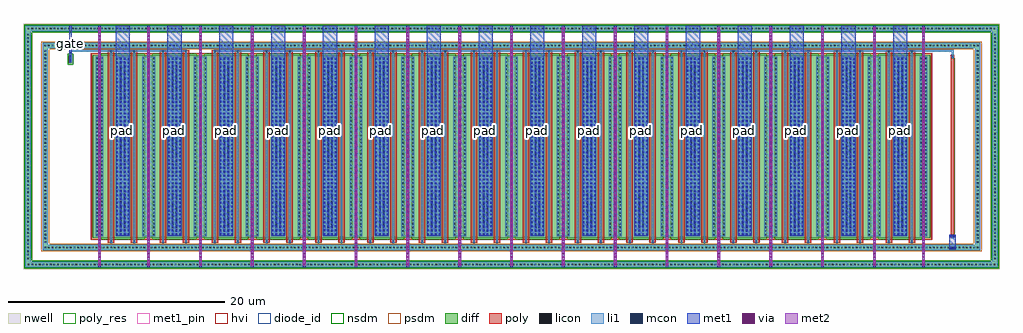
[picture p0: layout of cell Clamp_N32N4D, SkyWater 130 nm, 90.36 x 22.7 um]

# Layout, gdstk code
import gdstk
lib = gdstk.Library(unit=1e-6, precision=1e-09)
def R(c, l, rs):  # rectangles x0, y0, x1, y1
    for r in rs: c.add(gdstk.rectangle(r[:2], r[2:], *l))
def A(c, l, x, y, w, h, nx, ny, dx, dy):  # array of equal rectangles
    R(c, l, [(x+i*dx, y+j*dy, x+i*dx+w, y+j*dy+h) for i in range(nx) for j in range(ny)])
def P(c, l, *ps):  # polygons
    for p in ps: c.add(gdstk.Polygon(p, *l))
nwell = (64, 20)
diff = (65, 20)
poly_res = (66, 13)
poly = (66, 20)
licon = (66, 44)
li1 = (67, 20)
mcon = (67, 44)
met1_pin = (68, 16)
met1 = (68, 20)
via = (68, 44)
met2 = (69, 20)
hvi = (75, 20)
diode_id = (81, 23)
nsdm = (93, 44)
psdm = (94, 20)

guardring_n18000w4468hff = lib.new_cell('GuardRing_N18000W4468HFF')
P(guardring_n18000w4468hff, nwell, [(-45.18,-11.35),(-45.18,10.51),(-44.34,10.51),(-44.34,-10.51),(44.34,-10.51),(44.34,10.51),(-45.18,10.51),(-45.18,11.35),(45.18,11.35),(45.18,-11.35)])
P(guardring_n18000w4468hff, diff, [(-45,-11.17),(-45,10.69),(-44.52,10.69),(-44.52,-10.69),(44.52,-10.69),(44.52,10.69),(-45,10.69),(-45,11.17),(45,11.17),(45,-11.17)])
A(guardring_n18000w4468hff, licon, -44.795, -11.015, 0.17, 0.17, 264, 2, 0.34, 21.86)
A(guardring_n18000w4468hff, licon, -44.845, -10.455, 0.17, 0.17, 1, 62, 0, 0.34)
A(guardring_n18000w4468hff, licon, 44.675, -10.455, 0.17, 0.17, 1, 62, 0, 0.34)
P(guardring_n18000w4468hff, li1, [(-45,-11.17),(-45,10.69),(-44.52,10.69),(-44.52,-10.69),(44.52,-10.69),(44.52,10.69),(-45,10.69),(-45,11.17),(45,11.17),(45,-11.17)])
P(guardring_n18000w4468hff, nsdm, [(-45.125,-11.295),(-45.125,10.565),(-44.395,10.565),(-44.395,-10.565),(44.395,-10.565),(44.395,10.565),(-45.125,10.565),(-45.125,11.295),(45.125,11.295),(45.125,-11.295)])

guardring_p17368w3836hff = lib.new_cell('GuardRing_P17368W3836HFF')
P(guardring_p17368w3836hff, diff, [(-43.42,-9.59),(-43.42,9.11),(-42.94,9.11),(-42.94,-9.11),(42.94,-9.11),(42.94,9.11),(-43.42,9.11),(-43.42,9.59),(43.42,9.59),(43.42,-9.59)])
A(guardring_p17368w3836hff, licon, -43.265, -9.435, 0.17, 0.17, 255, 2, 0.34, 18.7)
A(guardring_p17368w3836hff, licon, -43.265, -8.925, 0.17, 0.17, 1, 53, 0, 0.34)
A(guardring_p17368w3836hff, licon, 43.095, -8.925, 0.17, 0.17, 1, 53, 0, 0.34)
P(guardring_p17368w3836hff, li1, [(-43.42,-9.59),(-43.42,9.11),(-42.94,9.11),(-42.94,-9.11),(42.94,-9.11),(42.94,9.11),(-43.42,9.11),(-43.42,9.59),(43.42,9.59),(43.42,-9.59)])
P(guardring_p17368w3836hff, psdm, [(-43.545,-9.715),(-43.545,8.985),(-42.815,8.985),(-42.815,-8.985),(42.815,-8.985),(42.815,8.985),(-43.545,8.985),(-43.545,9.715),(43.545,9.715),(43.545,-9.715)])

clamp_n32n4d = lib.new_cell('Clamp_N32N4D')
R(clamp_n32n4d, diff, [(6.25,2.72,83.75,19.62), (4.03,18.87,4.28,19.62)])
R(clamp_n32n4d, poly_res, [(85.675,2.985,86.015,19.355)])
R(clamp_n32n4d, poly, [(7.635,2.26,8.235,20.08), (9.765,2.26,10.365,20.08), (12.435,2.26,13.035,20.08), (14.565,2.26,15.165,20.08), (17.235,2.26,17.835,20.08), (19.365,2.26,19.965,20.08), (22.035,2.26,22.635,20.08), (24.165,2.26,24.765,20.08), (26.835,2.26,27.435,20.08), (28.965,2.26,29.565,20.08), (31.635,2.26,32.235,20.08), (33.765,2.26,34.365,20.08), (36.435,2.26,37.035,20.08), (38.565,2.26,39.165,20.08), (41.235,2.26,41.835,20.08), (43.365,2.26,43.965,20.08), (46.035,2.26,46.635,20.08), (48.165,2.26,48.765,20.08), (50.835,2.26,51.435,20.08), (52.965,2.26,53.565,20.08), (55.635,2.26,56.235,20.08), (57.765,2.26,58.365,20.08), (60.435,2.26,61.035,20.08), (62.565,2.26,63.165,20.08), (65.235,2.26,65.835,20.08), (67.365,2.26,67.965,20.08), (70.035,2.26,70.635,20.08), (72.165,2.26,72.765,20.08), (74.835,2.26,75.435,20.08), (76.965,2.26,77.565,20.08), (79.635,2.26,80.235,20.08), (81.765,2.26,82.365,20.08), (85.68,2.69,86.01,19.65)])
A(clamp_n32n4d, licon, 6.515, 2.925, 0.17, 0.17, 1, 49, 0, 0.34)
A(clamp_n32n4d, licon, 7.025, 2.925, 0.17, 0.17, 1, 49, 0, 0.34)
A(clamp_n32n4d, licon, 8.745, 2.925, 0.17, 0.17, 1, 49, 0, 0.34)
A(clamp_n32n4d, licon, 9.085, 2.925, 0.17, 0.17, 1, 49, 0, 0.34)
A(clamp_n32n4d, licon, 10.805, 2.925, 0.17, 0.17, 3, 49, 0.51, 0.34)
A(clamp_n32n4d, licon, 13.545, 2.925, 0.17, 0.17, 1, 49, 0, 0.34)
A(clamp_n32n4d, licon, 13.885, 2.925, 0.17, 0.17, 1, 49, 0, 0.34)
A(clamp_n32n4d, licon, 15.605, 2.925, 0.17, 0.17, 3, 49, 0.51, 0.34)
A(clamp_n32n4d, licon, 18.345, 2.925, 0.17, 0.17, 1, 49, 0, 0.34)
A(clamp_n32n4d, licon, 18.685, 2.925, 0.17, 0.17, 1, 49, 0, 0.34)
A(clamp_n32n4d, licon, 20.405, 2.925, 0.17, 0.17, 3, 49, 0.51, 0.34)
A(clamp_n32n4d, licon, 23.145, 2.925, 0.17, 0.17, 1, 49, 0, 0.34)
A(clamp_n32n4d, licon, 23.485, 2.925, 0.17, 0.17, 1, 49, 0, 0.34)
A(clamp_n32n4d, licon, 25.205, 2.925, 0.17, 0.17, 3, 49, 0.51, 0.34)
A(clamp_n32n4d, licon, 27.945, 2.925, 0.17, 0.17, 1, 49, 0, 0.34)
A(clamp_n32n4d, licon, 28.285, 2.925, 0.17, 0.17, 1, 49, 0, 0.34)
A(clamp_n32n4d, licon, 30.005, 2.925, 0.17, 0.17, 3, 49, 0.51, 0.34)
A(clamp_n32n4d, licon, 32.745, 2.925, 0.17, 0.17, 1, 49, 0, 0.34)
A(clamp_n32n4d, licon, 33.085, 2.925, 0.17, 0.17, 1, 49, 0, 0.34)
A(clamp_n32n4d, licon, 34.805, 2.925, 0.17, 0.17, 3, 49, 0.51, 0.34)
A(clamp_n32n4d, licon, 37.545, 2.925, 0.17, 0.17, 1, 49, 0, 0.34)
A(clamp_n32n4d, licon, 37.885, 2.925, 0.17, 0.17, 1, 49, 0, 0.34)
A(clamp_n32n4d, licon, 39.605, 2.925, 0.17, 0.17, 3, 49, 0.51, 0.34)
A(clamp_n32n4d, licon, 42.345, 2.925, 0.17, 0.17, 1, 49, 0, 0.34)
A(clamp_n32n4d, licon, 42.685, 2.925, 0.17, 0.17, 1, 49, 0, 0.34)
A(clamp_n32n4d, licon, 44.405, 2.925, 0.17, 0.17, 3, 49, 0.51, 0.34)
A(clamp_n32n4d, licon, 47.145, 2.925, 0.17, 0.17, 1, 49, 0, 0.34)
A(clamp_n32n4d, licon, 47.485, 2.925, 0.17, 0.17, 1, 49, 0, 0.34)
A(clamp_n32n4d, licon, 49.205, 2.925, 0.17, 0.17, 3, 49, 0.51, 0.34)
A(clamp_n32n4d, licon, 51.945, 2.925, 0.17, 0.17, 1, 49, 0, 0.34)
A(clamp_n32n4d, licon, 52.285, 2.925, 0.17, 0.17, 1, 49, 0, 0.34)
A(clamp_n32n4d, licon, 54.005, 2.925, 0.17, 0.17, 3, 49, 0.51, 0.34)
A(clamp_n32n4d, licon, 56.745, 2.925, 0.17, 0.17, 1, 49, 0, 0.34)
A(clamp_n32n4d, licon, 57.085, 2.925, 0.17, 0.17, 1, 49, 0, 0.34)
A(clamp_n32n4d, licon, 58.805, 2.925, 0.17, 0.17, 3, 49, 0.51, 0.34)
A(clamp_n32n4d, licon, 61.545, 2.925, 0.17, 0.17, 1, 49, 0, 0.34)
A(clamp_n32n4d, licon, 61.885, 2.925, 0.17, 0.17, 1, 49, 0, 0.34)
A(clamp_n32n4d, licon, 63.605, 2.925, 0.17, 0.17, 3, 49, 0.51, 0.34)
A(clamp_n32n4d, licon, 66.345, 2.925, 0.17, 0.17, 1, 49, 0, 0.34)
A(clamp_n32n4d, licon, 66.685, 2.925, 0.17, 0.17, 1, 49, 0, 0.34)
A(clamp_n32n4d, licon, 68.405, 2.925, 0.17, 0.17, 3, 49, 0.51, 0.34)
A(clamp_n32n4d, licon, 71.145, 2.925, 0.17, 0.17, 1, 49, 0, 0.34)
A(clamp_n32n4d, licon, 71.485, 2.925, 0.17, 0.17, 1, 49, 0, 0.34)
A(clamp_n32n4d, licon, 73.205, 2.925, 0.17, 0.17, 3, 49, 0.51, 0.34)
A(clamp_n32n4d, licon, 75.945, 2.925, 0.17, 0.17, 1, 49, 0, 0.34)
A(clamp_n32n4d, licon, 76.285, 2.925, 0.17, 0.17, 1, 49, 0, 0.34)
A(clamp_n32n4d, licon, 78.005, 2.925, 0.17, 0.17, 3, 49, 0.51, 0.34)
A(clamp_n32n4d, licon, 80.745, 2.925, 0.17, 0.17, 1, 49, 0, 0.34)
A(clamp_n32n4d, licon, 81.085, 2.925, 0.17, 0.17, 1, 49, 0, 0.34)
A(clamp_n32n4d, licon, 82.805, 2.925, 0.17, 0.17, 1, 49, 0, 0.34)
A(clamp_n32n4d, licon, 83.315, 2.925, 0.17, 0.17, 1, 49, 0, 0.34)
R(clamp_n32n4d, licon, [(7.85,2.31,8.02,2.48), (9.98,2.31,10.15,2.48), (12.65,2.31,12.82,2.48), (14.78,2.31,14.95,2.48), (17.45,2.31,17.62,2.48), (19.58,2.31,19.75,2.48), (22.25,2.31,22.42,2.48), (24.38,2.31,24.55,2.48), (27.05,2.31,27.22,2.48), (29.18,2.31,29.35,2.48), (31.85,2.31,32.02,2.48), (33.98,2.31,34.15,2.48), (36.65,2.31,36.82,2.48), (38.78,2.31,38.95,2.48), (41.45,2.31,41.62,2.48), (43.58,2.31,43.75,2.48), (46.25,2.31,46.42,2.48), (48.38,2.31,48.55,2.48), (51.05,2.31,51.22,2.48), (53.18,2.31,53.35,2.48), (55.85,2.31,56.02,2.48), (57.98,2.31,58.15,2.48), (60.65,2.31,60.82,2.48), (62.78,2.31,62.95,2.48), (65.45,2.31,65.62,2.48), (67.58,2.31,67.75,2.48), (70.25,2.31,70.42,2.48), (72.38,2.31,72.55,2.48), (75.05,2.31,75.22,2.48), (77.18,2.31,77.35,2.48), (79.85,2.31,80.02,2.48), (81.98,2.31,82.15,2.48), (85.76,2.77,85.93,2.94), (4.07,18.99,4.24,19.16), (4.07,19.33,4.24,19.5), (85.76,19.4,85.93,19.57), (7.85,19.86,8.02,20.03), (9.98,19.86,10.15,20.03), (12.65,19.86,12.82,20.03), (14.78,19.86,14.95,20.03), (17.45,19.86,17.62,20.03), (19.58,19.86,19.75,20.03), (22.25,19.86,22.42,20.03), (24.38,19.86,24.55,20.03), (27.05,19.86,27.22,20.03), (29.18,19.86,29.35,20.03), (31.85,19.86,32.02,20.03), (33.98,19.86,34.15,20.03), (36.65,19.86,36.82,20.03), (38.78,19.86,38.95,20.03), (41.45,19.86,41.62,20.03), (43.58,19.86,43.75,20.03), (46.25,19.86,46.42,20.03), (48.38,19.86,48.55,20.03), (51.05,19.86,51.22,20.03), (53.18,19.86,53.35,20.03), (55.85,19.86,56.02,20.03), (57.98,19.86,58.15,20.03), (60.65,19.86,60.82,20.03), (62.78,19.86,62.95,20.03), (65.45,19.86,65.62,20.03), (67.58,19.86,67.75,20.03), (70.25,19.86,70.42,20.03), (72.38,19.86,72.55,20.03), (75.05,19.86,75.22,20.03), (77.18,19.86,77.35,20.03), (79.85,19.86,80.02,20.03), (81.98,19.86,82.15,20.03)])
A(clamp_n32n4d, li1, 11.315, 1.58, 0.17, 0.48, 15, 2, 4.8, 18.7)
A(clamp_n32n4d, li1, 8.375, 2.845, 1.25, 16.65, 16, 1, 4.8, 0)
A(clamp_n32n4d, li1, 10.805, 2.845, 1.19, 16.65, 15, 1, 4.8, 0)
R(clamp_n32n4d, li1, [(6.77,1.58,6.94,2.06), (83.06,1.58,83.23,2.06), (85.58,1.735,86.11,1.905), (6.515,2.845,7.195,19.495), (82.805,2.845,83.485,19.495), (6.77,20.28,6.94,20.76), (83.06,20.28,83.23,20.76)])
P(clamp_n32n4d, li1, [(85.76,2.69),(85.76,2.77),(85.58,2.77),(85.58,2.94),(85.76,2.94),(85.76,3.02),(85.93,3.02),(85.93,2.94),(86.11,2.94),(86.11,2.77),(85.93,2.77),(85.93,2.69)],
  [(7.85,2.23),(7.85,19.94),(4.24,19.94),(4.24,18.91),(4.07,18.91),(4.07,20.11),(14.95,20.11),(14.95,2.23),(14.78,2.23),(14.78,19.94),(12.82,19.94),(12.82,2.23),(12.65,2.23),(12.65,19.94),(10.15,19.94),(10.15,2.23),(9.98,2.23),(9.98,19.94),(8.02,19.94),(8.02,2.23)],
  [(17.45,2.23),(17.45,20.11),(85.93,20.11),(85.93,19.32),(85.76,19.32),(85.76,19.94),(82.15,19.94),(82.15,2.23),(81.98,2.23),(81.98,19.94),(80.02,19.94),(80.02,2.23),(79.85,2.23),(79.85,19.94),(77.35,19.94),(77.35,2.23),(77.18,2.23),(77.18,19.94),(75.22,19.94),(75.22,2.23),(75.05,2.23),(75.05,19.94),(72.55,19.94),(72.55,2.23),(72.38,2.23),(72.38,19.94),(70.42,19.94),(70.42,2.23),(70.25,2.23),(70.25,19.94),(67.75,19.94),(67.75,2.23),(67.58,2.23),(67.58,19.94),(65.62,19.94),(65.62,2.23),(65.45,2.23),(65.45,19.94),(62.95,19.94),(62.95,2.23),(62.78,2.23),(62.78,19.94),(60.82,19.94),(60.82,2.23),(60.65,2.23),(60.65,19.94),(58.15,19.94),(58.15,2.23),(57.98,2.23),(57.98,19.94),(56.02,19.94),(56.02,2.23),(55.85,2.23),(55.85,19.94),(53.35,19.94),(53.35,2.23),(53.18,2.23),(53.18,19.94),(51.22,19.94),(51.22,2.23),(51.05,2.23),(51.05,19.94),(48.55,19.94),(48.55,2.23),(48.38,2.23),(48.38,19.94),(46.42,19.94),(46.42,2.23),(46.25,2.23),(46.25,19.94),(43.75,19.94),(43.75,2.23),(43.58,2.23),(43.58,19.94),(41.62,19.94),(41.62,2.23),(41.45,2.23),(41.45,19.94),(38.95,19.94),(38.95,2.23),(38.78,2.23),(38.78,19.94),(36.82,19.94),(36.82,2.23),(36.65,2.23),(36.65,19.94),(34.15,19.94),(34.15,2.23),(33.98,2.23),(33.98,19.94),(32.02,19.94),(32.02,2.23),(31.85,2.23),(31.85,19.94),(29.35,19.94),(29.35,2.23),(29.18,2.23),(29.18,19.94),(27.22,19.94),(27.22,2.23),(27.05,2.23),(27.05,19.94),(24.55,19.94),(24.55,2.23),(24.38,2.23),(24.38,19.94),(22.42,19.94),(22.42,2.23),(22.25,2.23),(22.25,19.94),(19.75,19.94),(19.75,2.23),(19.58,2.23),(19.58,19.94),(17.62,19.94),(17.62,2.23)])
A(clamp_n32n4d, mcon, 11.315, 1.735, 0.17, 0.17, 15, 2, 4.8, 18.7)
A(clamp_n32n4d, mcon, 6.77, 2.985, 0.17, 0.17, 1, 46, 0, 0.36)
A(clamp_n32n4d, mcon, 8.375, 2.985, 0.17, 0.17, 4, 46, 0.36, 0.36)
A(clamp_n32n4d, mcon, 11.315, 2.985, 0.17, 0.17, 1, 46, 0, 0.36)
A(clamp_n32n4d, mcon, 13.175, 2.985, 0.17, 0.17, 4, 46, 0.36, 0.36)
A(clamp_n32n4d, mcon, 16.115, 2.985, 0.17, 0.17, 1, 46, 0, 0.36)
A(clamp_n32n4d, mcon, 17.975, 2.985, 0.17, 0.17, 4, 46, 0.36, 0.36)
A(clamp_n32n4d, mcon, 20.915, 2.985, 0.17, 0.17, 1, 46, 0, 0.36)
A(clamp_n32n4d, mcon, 22.775, 2.985, 0.17, 0.17, 4, 46, 0.36, 0.36)
A(clamp_n32n4d, mcon, 25.715, 2.985, 0.17, 0.17, 1, 46, 0, 0.36)
A(clamp_n32n4d, mcon, 27.575, 2.985, 0.17, 0.17, 4, 46, 0.36, 0.36)
A(clamp_n32n4d, mcon, 30.515, 2.985, 0.17, 0.17, 1, 46, 0, 0.36)
A(clamp_n32n4d, mcon, 32.375, 2.985, 0.17, 0.17, 4, 46, 0.36, 0.36)
A(clamp_n32n4d, mcon, 35.315, 2.985, 0.17, 0.17, 1, 46, 0, 0.36)
A(clamp_n32n4d, mcon, 37.175, 2.985, 0.17, 0.17, 4, 46, 0.36, 0.36)
A(clamp_n32n4d, mcon, 40.115, 2.985, 0.17, 0.17, 1, 46, 0, 0.36)
A(clamp_n32n4d, mcon, 41.975, 2.985, 0.17, 0.17, 4, 46, 0.36, 0.36)
A(clamp_n32n4d, mcon, 44.915, 2.985, 0.17, 0.17, 1, 46, 0, 0.36)
A(clamp_n32n4d, mcon, 46.775, 2.985, 0.17, 0.17, 4, 46, 0.36, 0.36)
A(clamp_n32n4d, mcon, 49.715, 2.985, 0.17, 0.17, 1, 46, 0, 0.36)
A(clamp_n32n4d, mcon, 51.575, 2.985, 0.17, 0.17, 4, 46, 0.36, 0.36)
A(clamp_n32n4d, mcon, 54.515, 2.985, 0.17, 0.17, 1, 46, 0, 0.36)
A(clamp_n32n4d, mcon, 56.375, 2.985, 0.17, 0.17, 4, 46, 0.36, 0.36)
A(clamp_n32n4d, mcon, 59.315, 2.985, 0.17, 0.17, 1, 46, 0, 0.36)
A(clamp_n32n4d, mcon, 61.175, 2.985, 0.17, 0.17, 4, 46, 0.36, 0.36)
A(clamp_n32n4d, mcon, 64.115, 2.985, 0.17, 0.17, 1, 46, 0, 0.36)
A(clamp_n32n4d, mcon, 65.975, 2.985, 0.17, 0.17, 4, 46, 0.36, 0.36)
A(clamp_n32n4d, mcon, 68.915, 2.985, 0.17, 0.17, 1, 46, 0, 0.36)
A(clamp_n32n4d, mcon, 70.775, 2.985, 0.17, 0.17, 4, 46, 0.36, 0.36)
A(clamp_n32n4d, mcon, 73.715, 2.985, 0.17, 0.17, 1, 46, 0, 0.36)
A(clamp_n32n4d, mcon, 75.575, 2.985, 0.17, 0.17, 4, 46, 0.36, 0.36)
A(clamp_n32n4d, mcon, 78.515, 2.985, 0.17, 0.17, 1, 46, 0, 0.36)
A(clamp_n32n4d, mcon, 80.375, 2.985, 0.17, 0.17, 4, 46, 0.36, 0.36)
A(clamp_n32n4d, mcon, 83.06, 2.985, 0.17, 0.17, 1, 46, 0, 0.36)
A(clamp_n32n4d, mcon, 4.07, 19.065, 0.17, 0.17, 1, 3, 0, 0.36)
R(clamp_n32n4d, mcon, [(6.77,1.735,6.94,1.905), (83.06,1.735,83.23,1.905), (85.58,1.735,85.75,1.905), (85.94,1.735,86.11,1.905), (85.58,2.77,85.75,2.94), (85.94,2.77,86.11,2.94), (6.77,20.435,6.94,20.605), (83.06,20.435,83.23,20.605)])
A(clamp_n32n4d, met1_pin, 8.345, 2.925, 1.31, 19.415, 16, 1, 4.8, 0)
R(clamp_n32n4d, met1_pin, [(4.04,19.005,4.27,22.34)])
A(clamp_n32n4d, met1, 11.27, 0, 0.26, 22.34, 15, 1, 4.8, 0)
A(clamp_n32n4d, met1, 8.345, 2.925, 1.31, 19.415, 16, 1, 4.8, 0)
R(clamp_n32n4d, met1, [(6.725,0,6.985,22.34), (83.015,0,83.275,22.34), (85.55,1.675,86.14,3), (4.04,19.005,4.27,22.34)])
A(clamp_n32n4d, via, 6.78, 0.215, 0.15, 0.15, 1, 69, 0, 0.32)
A(clamp_n32n4d, via, 11.325, 0.215, 0.15, 0.15, 15, 69, 4.8, 0.32)
A(clamp_n32n4d, via, 83.07, 0.215, 0.15, 0.15, 1, 69, 0, 0.32)
A(clamp_n32n4d, met2, 11.27, 0.13, 0.26, 22.08, 15, 1, 4.8, 0)
R(clamp_n32n4d, met2, [(6.725,0.13,6.985,22.21), (83.015,0.13,83.275,22.21)])
R(clamp_n32n4d, hvi, [(6.05,2.52,83.95,19.82)])
R(clamp_n32n4d, diode_id, [(4.025,18.865,4.285,19.625)])
A(clamp_n32n4d, nsdm, 6.95, 2.595, 4.1, 17.15, 16, 1, 4.8, 0)
R(clamp_n32n4d, nsdm, [(3.905,18.745,4.405,19.745)])
A(clamp_n32n4d, psdm, 11.05, 2.595, 0.7, 17.15, 15, 1, 4.8, 0)
R(clamp_n32n4d, psdm, [(6.125,2.595,6.95,19.745), (83.05,2.595,83.875,19.745)])
clamp_n32n4d.add(gdstk.Reference(guardring_n18000w4468hff, (45,11.17)))
clamp_n32n4d.add(gdstk.Reference(guardring_p17368w3836hff, (45,11.17)))
clamp_n32n4d.add(gdstk.Label('pad', (52.2,12.633), layer=68, texttype=16))
clamp_n32n4d.add(gdstk.Label('pad', (42.6,12.633), layer=68, texttype=16))
clamp_n32n4d.add(gdstk.Label('pad', (37.8,12.633), layer=68, texttype=16))
clamp_n32n4d.add(gdstk.Label('pad', (57,12.633), layer=68, texttype=16))
clamp_n32n4d.add(gdstk.Label('pad', (18.6,12.633), layer=68, texttype=16))
clamp_n32n4d.add(gdstk.Label('pad', (71.4,12.633), layer=68, texttype=16))
clamp_n32n4d.add(gdstk.Label('pad', (76.2,12.633), layer=68, texttype=16))
clamp_n32n4d.add(gdstk.Label('pad', (9,12.633), layer=68, texttype=16))
clamp_n32n4d.add(gdstk.Label('pad', (23.4,12.633), layer=68, texttype=16))
clamp_n32n4d.add(gdstk.Label('pad', (13.8,12.633), layer=68, texttype=16))
clamp_n32n4d.add(gdstk.Label('pad', (47.4,12.633), layer=68, texttype=16))
clamp_n32n4d.add(gdstk.Label('pad', (61.8,12.633), layer=68, texttype=16))
clamp_n32n4d.add(gdstk.Label('pad', (66.6,12.633), layer=68, texttype=16))
clamp_n32n4d.add(gdstk.Label('pad', (81,12.633), layer=68, texttype=16))
clamp_n32n4d.add(gdstk.Label('pad', (28.2,12.633), layer=68, texttype=16))
clamp_n32n4d.add(gdstk.Label('pad', (33,12.633), layer=68, texttype=16))
clamp_n32n4d.add(gdstk.Label('gate', (4.155,20.673), layer=68, texttype=16))

lib.write_gds('Clamp_N32N4D.gds')
